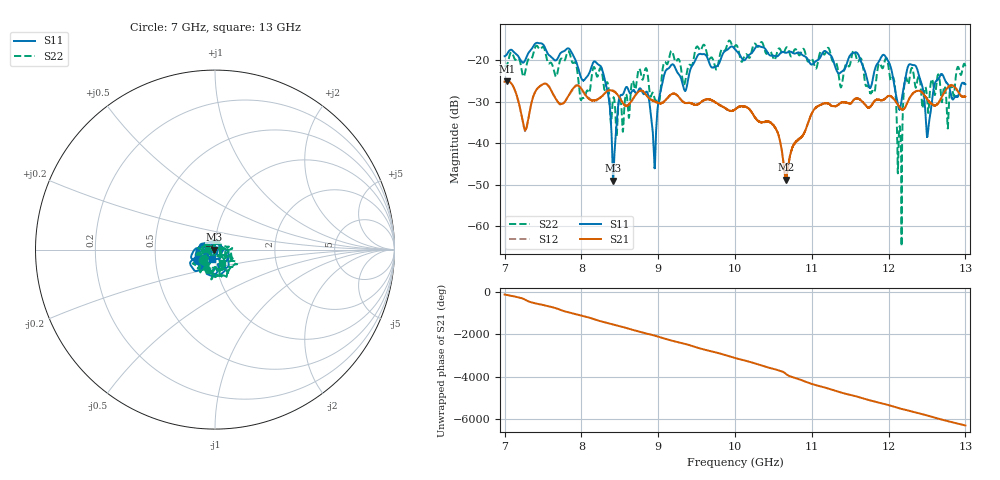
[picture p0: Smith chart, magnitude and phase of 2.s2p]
[Version] 2.0
! Rohde & Schwarz Vector Network Analyzer
! Rohde-Schwarz,ZNL20-2Port,1323001220200009,1.71.1.10-23.02.1.238
! Port Assignments:
! Nominal Port -> Actual Test Port
!  1 -> 1
!  2 -> 2
! Created: GMT+3 2024-09-24 15:06:33
# Hz S DB R 50
[Number of Ports] 2
[Two-Port Data Order] 21_12
! freq[Hz]  S11[mag dB]  S11[ang]  S21[mag dB]  S21[ang]  S12[mag dB]  S12[ang]  S22[mag dB]  S22[ang]
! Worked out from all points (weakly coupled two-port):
!   6001 points, 7 GHz to 13 GHz, reference 50 ohm
!   highest |S21| = -25.00 dB at 7.028 GHz (marker M1); lowest = -48.8 dB at 10.67 GHz (marker M2)
!   lowest |S11| = -49.0 dB at 8.414 GHz (marker M3), VSWR 1.01, Z = 49.7 - j0.127 ohm
!   |S11| at or under -10 dB: start of sweep to end of sweep
!   |S22| runs from -64.9 to -15.2 dB; largest |S21 - S12| = 0.0013
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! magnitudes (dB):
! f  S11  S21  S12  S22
! 7 GHz  -19.0  -25.1  -25.1  -21.2
! 7.028 GHz  -18.6  -25.0  -25.0  -21.3
! 7.269 GHz  -19.9  -36.7  -37.0  -22.7
! 7.833 GHz  -17.1  -28.5  -28.5  -17.8
! 8 GHz  -24.3  -26.8  -26.9  -29.4
! 8.263 GHz  -21.8  -28.7  -28.5  -22.3
! 8.414 GHz  -49.0  -27.4  -27.2  -29.2
! 8.576 GHz  -26.6  -31.0  -30.7  -28.4
! 8.855 GHz  -27.6  -28.6  -28.6  -22.4
! 8.946 GHz  -43.0  -29.8  -29.8  -28.7
! 9 GHz  -30.3  -30.2  -30.3  -29.7
! 9.17 GHz  -21.1  -28.2  -28.2  -17.7
! 10 GHz  -17.3  -31.8  -31.8  -16.5
! 10.5 GHz  -18.8  -35.8  -35.7  -19.7
! 10.67 GHz  -18.2  -48.8  -48.1  -16.9
! 11 GHz  -21.0  -32.8  -32.7  -19.6
! 12 GHz  -20.3  -28.6  -28.6  -21.8
! 12.14 GHz  -31.8  -31.3  -31.4  -35.9
! 12.3 GHz  -21.0  -28.4  -28.5  -21.9
! 12.51 GHz  -37.7  -29.6  -29.4  -32.0
! 12.67 GHz  -23.8  -29.7  -29.7  -25.2
! 13 GHz  -25.7  -28.7  -28.6  -21.5
